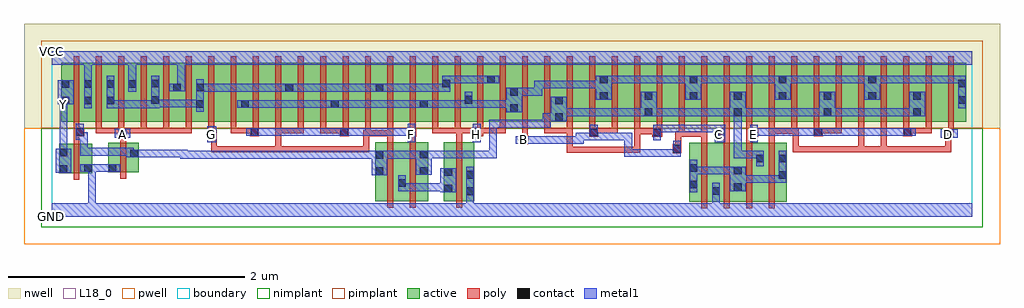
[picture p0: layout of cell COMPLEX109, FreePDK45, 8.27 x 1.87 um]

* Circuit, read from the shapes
.subckt COMPLEX109 A B C D E F G GND H VCC Y
M1 GND n1 Y VSUBS nfet w=0.25u l=0.05u
M2 n1 A GND VSUBS nfet w=0.25u l=0.05u
M3 n2 G n1 VSUBS nfet w=0.5u l=0.05u
M4 n1 F n2 VSUBS nfet w=0.5u l=0.05u
M5 GND H n2 VSUBS nfet w=0.5u l=0.05u
M6 GND B n3 VSUBS nfet w=0.5u l=0.05u
M7 n3 C GND VSUBS nfet w=0.5u l=0.05u
M8 n1 E n3 VSUBS nfet w=0.5u l=0.05u
M9 n3 D n1 VSUBS nfet w=0.5u l=0.05u
M10 VCC n1 Y n4 pfet w=0.5u l=0.05u
M11 n5 A VCC n4 pfet w=0.5u l=0.05u m=5
M12 n6 G n5 n4 pfet w=0.5u l=0.05u
M13 n7 F n6 n4 pfet w=0.5u l=0.05u
M14 n8 F n7 n4 pfet w=0.5u l=0.05u
M15 n5 G n8 n4 pfet w=0.5u l=0.05u
M16 n9 G n5 n4 pfet w=0.5u l=0.05u
M17 n7 F n9 n4 pfet w=0.5u l=0.05u
M18 n10 F n7 n4 pfet w=0.5u l=0.05u
M19 n5 G n10 n4 pfet w=0.5u l=0.05u
M20 n11 G n5 n4 pfet w=0.5u l=0.05u
M21 n7 F n11 n4 pfet w=0.5u l=0.05u
M22 n5 H n7 n4 pfet w=0.5u l=0.05u m=4
M23 n12 B n7 n4 pfet w=0.5u l=0.05u
M24 n1 C n12 n4 pfet w=0.5u l=0.05u
M25 n13 C n1 n4 pfet w=0.5u l=0.05u
M26 n7 B n13 n4 pfet w=0.5u l=0.05u
M27 n14 B n7 n4 pfet w=0.5u l=0.05u
M28 n1 C n14 n4 pfet w=0.5u l=0.05u
M29 n15 C n1 n4 pfet w=0.5u l=0.05u
M30 n7 B n15 n4 pfet w=0.5u l=0.05u
M31 n16 B n7 n4 pfet w=0.5u l=0.05u
M32 n1 C n16 n4 pfet w=0.5u l=0.05u
M33 n17 E n1 n4 pfet w=0.5u l=0.05u
M34 n7 D n17 n4 pfet w=0.5u l=0.05u
M35 n18 D n7 n4 pfet w=0.5u l=0.05u
M36 n1 E n18 n4 pfet w=0.5u l=0.05u
M37 n19 E n1 n4 pfet w=0.5u l=0.05u
M38 n7 D n19 n4 pfet w=0.5u l=0.05u
M39 n20 D n7 n4 pfet w=0.5u l=0.05u
M40 n1 E n20 n4 pfet w=0.5u l=0.05u
M41 n21 E n1 n4 pfet w=0.5u l=0.05u
M42 n7 D n21 n4 pfet w=0.5u l=0.05u
.ends

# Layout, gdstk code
import gdstk
lib = gdstk.Library(unit=1e-6, precision=1e-09)
def R(c, l, rs):  # rectangles x0, y0, x1, y1
    for r in rs: c.add(gdstk.rectangle(r[:2], r[2:], *l))
def A(c, l, x, y, w, h, nx, ny, dx, dy):  # array of equal rectangles
    R(c, l, [(x+i*dx, y+j*dy, x+i*dx+w, y+j*dy+h) for i in range(nx) for j in range(ny)])
active = (1, 0)
pwell = (2, 0)
nwell = (3, 0)
nimplant = (4, 0)
pimplant = (5, 0)
poly = (9, 0)
contact = (10, 0)
metal1 = (11, 0)
L18_0 = (18, 0)
boundary = (235, 0)

complex109 = lib.new_cell('COMPLEX109')
A(complex109, active, 3.115, 0.805, 0.265, 0.5, 3, 1, 0.19, 0)
A(complex109, active, 3.88, 0.805, 0.225, 0.5, 5, 1, 0.38, 0)
A(complex109, active, 4.105, 0.805, 0.23, 0.5, 4, 1, 0.38, 0)
A(complex109, active, 5.625, 0.805, 0.225, 0.5, 6, 1, 0.38, 0)
A(complex109, active, 5.775, 0.805, 0.23, 0.5, 5, 1, 0.38, 0)
A(complex109, active, 0.46, 0.807, 0.075, 0.393, 3, 1, 0.38, 0)
A(complex109, active, 3.88, 0.807, 0.075, 0.393, 3, 1, 0.76, 0)
A(complex109, active, 5.775, 0.807, 0.075, 0.263, 3, 1, 0.76, 0)
R(complex109, active, [(5.4,0.125,5.665,0.625), (5.59,0.125,5.85,0.625), (5.59,0.125,5.665,0.592), (5.775,0.125,6.04,0.625), (5.965,0.125,6.23,0.625), (2.74,0.13,3.005,0.63), (2.93,0.13,3.19,0.63), (3.322,0.13,3.582,0.63), (3.507,0.157,3.582,0.592), (2.74,0.195,2.815,0.63), (2.93,0.195,3.005,0.592), (3.115,0.195,3.19,0.63), (3.322,0.195,3.397,0.63), (5.4,0.195,5.475,0.625), (5.775,0.195,5.85,0.592), (5.965,0.195,6.04,0.592), (6.155,0.195,6.23,0.625), (0.062,0.367,0.137,0.617), (0.062,0.367,0.345,0.617), (0.27,0.367,0.345,0.617), (0.477,0.375,0.737,0.625), (0.477,0.375,0.552,0.625), (0.662,0.382,0.737,0.625), (0.08,0.805,0.345,1.305), (0.08,0.805,0.155,1.2), (0.27,0.805,0.535,1.305), (0.46,0.805,0.72,1.305), (0.645,0.805,0.915,1.305), (0.84,0.805,1.1,1.305), (1.025,0.805,1.295,1.305), (1.22,0.805,1.445,1.305), (1.445,0.805,1.675,1.305), (1.6,0.805,1.825,1.305), (1.825,0.805,2.05,1.305), (1.975,0.805,2.205,1.305), (2.205,0.805,2.435,1.305), (2.36,0.805,2.585,1.305), (2.585,0.805,2.815,1.305), (2.74,0.805,2.965,1.305), (2.965,0.805,3.19,1.305), (3.685,0.805,3.955,1.305), (4.26,0.805,4.335,1.07), (7.675,0.805,7.75,1.2), (0.27,0.807,0.345,1.305), (0.645,0.807,0.72,1.305), (1.025,0.807,1.1,1.305), (1.6,0.807,1.675,1.07), (1.975,0.807,2.05,1.2), (2.36,0.807,2.435,1.07), (2.74,0.807,2.815,1.2), (3.115,0.807,3.19,1.07), (3.305,0.807,3.38,1.2), (3.495,0.807,3.57,1.07), (3.685,0.807,3.76,1.2), (5.02,0.807,5.095,1.07), (6.155,0.807,6.23,1.2), (6.915,0.807,6.99,1.2)])
R(complex109, pwell, [(-0.235,-0.235,8.035,0.75)])
R(complex109, nwell, [(-0.235,0.75,8.035,1.635)])
R(complex109, nimplant, [(-0.09,-0.09,7.89,0.75)])
R(complex109, pimplant, [(-0.09,0.75,7.89,1.49)])
A(complex109, poly, 5.505, 0.07, 0.05, 0.61, 4, 1, 0.19, 0)
A(complex109, poly, 5.505, 0.63, 0.05, 0.095, 3, 1, 0.19, 0)
A(complex109, poly, 0.185, 0.705, 0.05, 0.095, 6, 1, 0.19, 0)
A(complex109, poly, 1.515, 0.705, 0.05, 0.095, 6, 1, 0.19, 0)
A(complex109, poly, 3.035, 0.705, 0.05, 0.095, 5, 1, 0.19, 0)
A(complex109, poly, 4.175, 0.705, 0.05, 0.095, 4, 1, 0.19, 0)
A(complex109, poly, 0.185, 0.75, 0.05, 0.61, 40, 1, 0.19, 0)
R(complex109, poly, [(2.845,0.075,2.895,0.685), (3.035,0.075,3.085,0.685), (3.427,0.075,3.477,0.685), (0.185,0.312,0.235,0.672), (0.582,0.32,0.632,0.68), (5.26,0.537,5.335,0.612), (4.365,0.542,4.415,0.592), (4.365,0.542,4.415,0.592), (4.365,0.542,4.415,0.592), (4.365,0.542,4.662,0.592), (4.365,0.542,4.415,0.755), (4.612,0.542,4.662,0.592), (4.612,0.542,4.662,0.592), (4.612,0.542,4.662,0.592), (4.612,0.542,4.795,0.592), (4.745,0.542,4.795,0.592), (4.745,0.542,4.985,0.592), (4.935,0.542,4.985,0.592), (4.935,0.542,4.985,0.592), (4.935,0.542,4.985,0.592), (4.935,0.542,4.985,0.75), (1.35,0.547,1.4,0.597), (1.35,0.547,1.4,0.597), (1.35,0.547,1.4,0.597), (1.35,0.547,1.4,0.597), (1.35,0.547,1.4,0.597), (1.35,0.547,1.532,0.597), (1.35,0.547,1.4,0.712), (1.482,0.547,1.532,0.597), (1.482,0.547,1.812,0.597), (1.762,0.547,1.812,0.597), (1.762,0.547,1.812,0.597), (1.762,0.547,1.812,0.597), (1.762,0.547,1.945,0.597), (1.895,0.547,1.945,0.597), (1.895,0.547,1.945,0.597), (1.895,0.547,1.945,0.597), (1.895,0.547,1.945,0.597), (1.895,0.547,1.945,0.597), (1.895,0.547,2.135,0.597), (1.895,0.547,1.945,0.755), (2.085,0.547,2.135,0.597), (2.085,0.547,2.135,0.597), (2.085,0.547,2.135,0.597), (2.085,0.547,2.267,0.597), (2.217,0.547,2.267,0.597), (2.217,0.547,2.267,0.597), (2.217,0.547,2.267,0.597), (2.217,0.547,2.4,0.597), (2.35,0.547,2.4,0.597), (2.35,0.547,2.532,0.597), (2.482,0.547,2.532,0.597), (2.482,0.547,2.532,0.597), (2.482,0.547,2.532,0.597), (2.482,0.547,2.69,0.597), (2.64,0.547,2.69,0.597), (2.64,0.547,2.69,0.597), (2.64,0.547,2.69,0.597), (2.64,0.547,2.69,0.73), (6.28,0.547,6.33,0.597), (6.28,0.547,6.33,0.597), (6.28,0.547,6.33,0.597), (6.28,0.547,6.33,0.597), (6.28,0.547,6.33,0.597), (6.28,0.547,6.562,0.597), (6.28,0.547,6.33,0.752), (6.512,0.547,6.562,0.597), (6.512,0.547,6.562,0.597), (6.512,0.547,6.562,0.597), (6.512,0.547,6.752,0.597), (6.702,0.547,6.752,0.597), (6.702,0.547,6.752,0.597), (6.702,0.547,6.752,0.597), (6.702,0.547,6.885,0.597), (6.835,0.547,6.885,0.597), (6.835,0.547,6.885,0.597), (6.835,0.547,6.885,0.597), (6.835,0.547,6.885,0.597), (6.835,0.547,6.885,0.597), (6.835,0.547,6.885,0.597), (6.835,0.547,6.885,0.597), (6.835,0.547,6.885,0.8), (6.835,0.547,7.075,0.597), (7.025,0.547,7.075,0.597), (7.025,0.547,7.075,0.597), (7.025,0.547,7.075,0.597), (7.025,0.547,7.075,0.597), (7.025,0.547,7.075,0.597), (7.025,0.547,7.075,0.597), (7.025,0.547,7.075,0.597), (7.025,0.547,7.207,0.597), (7.025,0.547,7.075,0.8), (7.157,0.547,7.207,0.597), (7.157,0.547,7.422,0.597), (7.372,0.547,7.422,0.597), (7.372,0.547,7.422,0.597), (7.372,0.547,7.422,0.597), (7.372,0.547,7.62,0.597), (7.57,0.547,7.62,0.597), (7.57,0.547,7.62,0.597), (7.57,0.547,7.62,0.597), (7.57,0.547,7.62,0.72), (5.285,0.562,5.335,0.612), (5.285,0.562,5.335,0.612), (5.285,0.562,5.335,0.725), (3.962,0.612,4.037,0.687), (0.185,0.622,0.235,0.73), (0.582,0.63,0.632,0.725), (6.075,0.63,6.125,0.752), (2.845,0.635,2.895,0.73), (3.035,0.635,3.085,0.73), (3.427,0.635,3.477,0.755), (3.985,0.637,4.035,0.8), (1.325,0.662,1.4,0.737), (7.57,0.67,7.62,0.72), (7.57,0.67,7.62,0.72), (7.57,0.67,7.645,0.745), (0.562,0.675,0.637,0.755), (4.555,0.675,4.63,0.755), (5.09,0.675,5.175,0.75), (5.285,0.675,5.365,0.725), (5.315,0.675,5.555,0.725), (5.315,0.675,5.365,0.8), (5.505,0.675,5.555,0.725), (5.505,0.675,5.555,0.725), (5.505,0.675,5.555,0.725), (5.505,0.675,5.555,0.8), (5.637,0.675,5.745,0.75), (5.885,0.675,5.987,0.75), (0.185,0.68,0.275,0.755), (1.68,0.68,1.755,0.755), (2.44,0.68,2.515,0.755), (2.64,0.68,2.705,0.73), (2.655,0.68,2.705,0.73), (2.655,0.68,2.705,0.73), (2.655,0.68,2.895,0.73), (2.655,0.68,2.705,0.8), (2.845,0.68,2.895,0.73), (2.845,0.68,2.895,0.8), (3.012,0.68,3.087,0.755), (3.565,0.68,3.655,0.755), (6.455,0.68,6.532,0.755), (7.215,0.68,7.29,0.755), (1.325,0.687,1.375,0.8), (7.595,0.695,7.645,0.8), (4.935,0.7,4.985,0.75), (4.935,0.7,4.985,0.75), (4.935,0.7,4.985,0.75), (4.935,0.7,4.985,0.8), (4.935,0.7,5.14,0.75), (5.09,0.7,5.14,0.75), (5.09,0.7,5.14,0.75), (5.125,0.7,5.175,0.8), (5.695,0.7,5.745,0.8), (5.885,0.7,5.935,0.8), (6.075,0.702,6.125,0.752), (6.075,0.702,6.125,0.752), (6.075,0.702,6.125,0.752), (6.075,0.702,6.315,0.752), (6.075,0.702,6.125,0.8), (6.265,0.702,6.315,0.8), (6.265,0.702,6.33,0.752), (0.375,0.705,0.425,0.755), (0.375,0.705,0.425,0.755), (0.375,0.705,0.425,0.755), (0.375,0.705,0.612,0.755), (0.587,0.705,0.637,0.755), (0.587,0.705,0.637,0.755), (0.587,0.705,0.805,0.755), (0.755,0.705,0.805,0.755), (0.755,0.705,0.995,0.755), (0.945,0.705,0.995,0.755), (0.945,0.705,0.995,0.755), (0.945,0.705,0.995,0.755), (0.945,0.705,1.185,0.755), (1.135,0.705,1.185,0.755), (1.135,0.705,1.185,0.755), (1.135,0.705,1.185,0.755), (1.515,0.705,1.565,0.755), (1.515,0.705,1.73,0.755), (1.68,0.705,1.73,0.755), (1.68,0.705,1.73,0.755), (1.895,0.705,1.945,0.755), (1.895,0.705,2.135,0.755), (2.085,0.705,2.135,0.755), (2.085,0.705,2.135,0.755), (2.085,0.705,2.135,0.755), (2.275,0.705,2.325,0.755), (2.275,0.705,2.4,0.755), (2.35,0.705,2.4,0.755), (2.35,0.705,2.49,0.755), (3.225,0.705,3.275,0.755), (3.225,0.705,3.275,0.755), (3.225,0.705,3.275,0.755), (3.225,0.705,3.465,0.755), (3.415,0.705,3.477,0.755), (3.427,0.705,3.615,0.755), (3.565,0.705,3.615,0.755), (3.565,0.705,3.615,0.755), (3.605,0.705,3.845,0.755), (3.795,0.705,3.845,0.755), (3.795,0.705,3.845,0.755), (3.795,0.705,3.845,0.755), (4.175,0.705,4.225,0.755), (4.175,0.705,4.225,0.755), (4.175,0.705,4.225,0.755), (4.175,0.705,4.415,0.755), (4.365,0.705,4.415,0.755), (4.365,0.705,4.415,0.755), (4.365,0.705,4.415,0.755), (4.58,0.705,4.63,0.755), (4.58,0.705,4.63,0.755), (4.58,0.705,4.795,0.755), (4.745,0.705,4.795,0.755), (6.455,0.705,6.505,0.8), (6.482,0.705,6.532,0.755), (6.482,0.705,6.532,0.755), (6.482,0.705,6.695,0.755), (6.645,0.705,6.695,0.755), (6.645,0.705,6.695,0.8), (7.215,0.705,7.265,0.8), (7.24,0.705,7.455,0.755), (7.405,0.705,7.455,0.755), (7.405,0.705,7.455,0.755), (7.405,0.705,7.455,0.755), (7.405,0.705,7.455,0.8)])
A(complex109, contact, 5.78, 0.852, 0.065, 0.065, 3, 2, 0.76, 0.14)
A(complex109, contact, 0.085, 0.952, 0.065, 0.065, 3, 2, 0.19, 0.14)
R(complex109, contact, [(3.512,0.182,3.577,0.247), (5.595,0.185,5.66,0.25), (3.327,0.205,3.392,0.27), (5.78,0.217,5.845,0.282), (5.405,0.24,5.47,0.305), (2.935,0.252,3,0.317), (6.16,0.32,6.225,0.385), (3.512,0.322,3.577,0.387), (3.327,0.345,3.392,0.41), (2.745,0.352,2.81,0.417), (3.12,0.355,3.185,0.42), (5.78,0.357,5.845,0.422), (0.067,0.372,0.132,0.437), (0.275,0.38,0.34,0.445), (0.482,0.38,0.547,0.445), (5.405,0.38,5.47,0.445), (5.97,0.46,6.035,0.525), (6.16,0.46,6.225,0.525), (2.745,0.492,2.81,0.557), (3.12,0.495,3.185,0.56), (0.667,0.502,0.732,0.567), (0.067,0.512,0.132,0.577), (5.265,0.542,5.33,0.607), (3.967,0.617,4.032,0.682), (1.33,0.667,1.395,0.732), (7.575,0.675,7.64,0.74), (0.567,0.68,0.632,0.745), (4.56,0.68,4.625,0.745), (5.095,0.68,5.16,0.745), (5.642,0.68,5.707,0.745), (5.917,0.68,5.982,0.745), (0.205,0.685,0.27,0.75), (1.685,0.685,1.75,0.75), (2.445,0.685,2.51,0.75), (3.017,0.685,3.082,0.75), (3.57,0.685,3.635,0.75), (6.462,0.685,6.527,0.75), (7.22,0.685,7.285,0.75), (4.265,0.81,4.33,0.875), (5.025,0.852,5.09,0.917), (3.885,0.885,3.95,0.95), (1.225,0.922,1.29,0.987), (1.605,0.922,1.67,0.987), (2.365,0.922,2.43,0.987), (3.12,0.922,3.185,0.987), (4.265,0.95,4.33,1.015), (0.845,0.955,0.91,1.02), (7.68,0.955,7.745,1.02), (3.5,0.957,3.565,1.022), (4.645,0.99,4.71,1.055), (5.405,0.99,5.47,1.055), (6.16,0.99,6.225,1.055), (6.92,0.99,6.985,1.055), (5.025,0.992,5.09,1.057), (3.885,1.025,3.95,1.09), (1.98,1.06,2.045,1.125), (2.745,1.06,2.81,1.125), (1.03,1.062,1.095,1.127), (1.225,1.062,1.29,1.127), (0.65,1.092,0.715,1.157), (0.845,1.095,0.91,1.16), (3.31,1.095,3.375,1.16), (7.68,1.095,7.745,1.16), (3.69,1.13,3.755,1.195), (4.645,1.13,4.71,1.195), (5.405,1.13,5.47,1.195), (6.16,1.13,6.225,1.195), (6.92,1.13,6.985,1.195)])
A(complex109, metal1, 5.745, 0.852, 0.135, 0.205, 3, 1, 0.76, 0)
R(complex109, metal1, [(0,0,7.8,0.115), (0.31,0.05,0.375,0.115), (0.31,0.05,0.375,0.115), (0.31,0.05,0.375,0.115), (0.31,0.05,0.375,0.115), (0.31,0.05,0.375,0.115), (0.31,0.05,0.375,0.115), (0.31,0.05,0.375,0.445), (3.512,0.05,3.577,0.115), (3.512,0.05,3.577,0.115), (3.512,0.05,3.577,0.212), (5.595,0.05,5.66,0.215), (3.512,0.147,3.577,0.422), (5.595,0.15,5.66,0.215), (5.595,0.15,5.66,0.215), (5.595,0.15,5.66,0.285), (3.292,0.205,3.427,0.41), (5.405,0.205,5.47,0.48), (2.935,0.217,3,0.352), (2.935,0.217,3.05,0.282), (2.985,0.217,3.05,0.282), (2.985,0.217,3.137,0.282), (3.072,0.217,3.137,0.282), (3.072,0.217,3.287,0.282), (3.222,0.217,3.287,0.282), (3.222,0.217,3.357,0.282), (5.745,0.217,5.88,0.422), (5.815,0.285,5.88,0.35), (5.815,0.285,5.88,0.35), (5.815,0.285,6.017,0.35), (5.952,0.285,6.017,0.35), (5.952,0.285,6.172,0.35), (6.107,0.285,6.172,0.35), (6.107,0.285,6.225,0.35), (6.16,0.285,6.225,0.56), (2.71,0.352,2.845,0.557), (3.085,0.355,3.22,0.56), (5.405,0.357,5.47,0.422), (5.405,0.357,5.47,0.422), (5.405,0.357,5.672,0.422), (5.607,0.357,5.672,0.422), (5.607,0.357,5.672,0.422), (5.607,0.357,5.672,0.422), (5.607,0.357,5.81,0.422), (0.032,0.372,0.167,0.577), (0.24,0.38,0.375,0.445), (0.31,0.38,0.407,0.445), (0.342,0.38,0.407,0.445), (0.342,0.38,0.512,0.445), (0.447,0.38,0.582,0.445), (5.97,0.425,6.035,0.56), (1.087,0.492,1.29,0.557), (1.087,0.492,1.152,0.567), (1.225,0.492,1.29,0.557), (1.225,0.492,1.29,0.557), (1.225,0.492,1.29,0.557), (1.225,0.492,1.427,0.557), (1.362,0.492,1.427,0.557), (1.362,0.492,1.532,0.557), (1.467,0.492,1.532,0.557), (1.467,0.492,1.67,0.557), (1.605,0.492,1.67,0.557), (1.605,0.492,1.67,0.557), (1.605,0.492,1.67,0.557), (1.605,0.492,1.842,0.557), (1.777,0.492,1.842,0.557), (1.777,0.492,1.98,0.557), (1.915,0.492,1.98,0.557), (1.915,0.492,1.98,0.557), (1.915,0.492,1.98,0.557), (1.915,0.492,2.155,0.557), (2.09,0.492,2.155,0.557), (2.09,0.492,2.217,0.557), (2.152,0.492,2.217,0.557), (2.152,0.492,2.292,0.557), (2.227,0.492,2.292,0.557), (2.227,0.492,2.43,0.557), (2.365,0.492,2.43,0.557), (2.365,0.492,2.43,0.557), (2.365,0.492,2.43,0.557), (2.365,0.492,2.637,0.557), (2.572,0.492,2.637,0.557), (2.572,0.492,2.775,0.557), (2.71,0.492,2.775,0.557), (2.71,0.492,2.775,0.557), (2.78,0.492,2.912,0.557), (2.847,0.492,2.912,0.557), (2.847,0.492,2.982,0.557), (2.917,0.492,2.982,0.557), (2.917,0.492,3.15,0.557), (3.085,0.492,3.15,0.557), (3.085,0.492,3.15,0.557), (3.155,0.495,3.287,0.56), (3.222,0.495,3.287,0.56), (3.222,0.495,3.427,0.56), (3.362,0.495,3.427,0.56), (3.362,0.495,3.427,0.56), (3.362,0.495,3.427,0.56), (3.362,0.495,3.582,0.56), (3.517,0.495,3.582,0.56), (3.517,0.495,3.582,0.56), (3.517,0.495,3.582,0.56), (3.517,0.495,3.772,0.56), (3.707,0.495,3.772,0.56), (3.707,0.495,3.772,0.82), (5.78,0.495,5.845,0.56), (5.78,0.495,6.035,0.56), (5.78,0.495,5.845,0.917), (5.97,0.495,6.035,0.56), (5.97,0.495,6.035,0.56), (0.632,0.502,0.697,0.567), (0.632,0.502,0.767,0.567), (0.632,0.502,0.697,0.582), (0.702,0.502,0.835,0.567), (0.77,0.502,0.835,0.567), (0.77,0.502,0.905,0.567), (0.84,0.502,0.905,0.567), (0.84,0.502,0.972,0.567), (0.907,0.502,0.972,0.567), (0.907,0.502,1.152,0.567), (1.087,0.502,1.152,0.567), (1.087,0.502,1.152,0.567), (4.852,0.507,4.917,0.572), (4.852,0.507,4.917,0.572), (4.852,0.507,4.917,0.572), (4.852,0.507,5.055,0.572), (4.852,0.507,4.917,0.71), (4.99,0.507,5.055,0.572), (4.99,0.507,5.055,0.572), (4.99,0.507,5.055,0.572), (4.99,0.507,5.262,0.572), (5.197,0.507,5.262,0.572), (5.197,0.507,5.33,0.572), (5.265,0.507,5.33,0.642), (0.067,0.512,0.132,0.947), (0.24,0.517,0.305,0.582), (0.24,0.517,0.407,0.582), (0.24,0.517,0.305,0.715), (0.342,0.517,0.407,0.582), (0.342,0.517,0.56,0.582), (0.495,0.517,0.56,0.582), (0.495,0.517,0.697,0.582), (3.932,0.617,4.067,0.682), (4.002,0.617,4.157,0.682), (4.092,0.617,4.157,0.682), (4.092,0.617,4.227,0.682), (4.162,0.617,4.227,0.682), (4.162,0.617,4.37,0.682), (4.305,0.617,4.37,0.682), (4.305,0.617,4.37,0.682), (4.305,0.617,4.37,0.682), (4.305,0.617,4.507,0.682), (4.442,0.617,4.507,0.71), (1.317,0.63,1.395,0.767), (3.017,0.632,3.082,0.785), (3.567,0.632,3.635,0.785), (5.617,0.632,5.707,0.78), (5.917,0.632,5.982,0.78), (4.442,0.645,4.625,0.71), (4.56,0.645,4.78,0.71), (4.56,0.645,4.625,0.78), (4.715,0.645,4.78,0.71), (4.715,0.645,4.78,0.71), (4.715,0.645,4.78,0.71), (4.715,0.645,4.78,0.71), (4.715,0.645,4.78,0.71), (4.715,0.645,4.917,0.71), (4.852,0.645,4.917,0.71), (5.095,0.645,5.16,0.78), (0.205,0.65,0.305,0.715), (0.205,0.65,0.27,0.785), (0.24,0.65,0.305,0.715), (0.532,0.667,0.667,0.745), (7.532,0.667,7.675,0.74), (1.65,0.685,1.785,0.75), (1.72,0.685,1.842,0.75), (1.777,0.685,1.842,0.75), (1.777,0.685,2.017,0.75), (1.952,0.685,2.017,0.75), (1.952,0.685,2.017,0.75), (1.952,0.685,2.017,0.75), (1.952,0.685,2.155,0.75), (2.09,0.685,2.155,0.75), (2.09,0.685,2.257,0.75), (2.192,0.685,2.257,0.75), (2.192,0.685,2.292,0.75), (2.227,0.685,2.292,0.75), (2.227,0.685,2.475,0.75), (2.41,0.685,2.475,0.75), (2.41,0.685,2.475,0.75), (2.41,0.685,2.545,0.75), (2.48,0.685,2.637,0.75), (2.572,0.685,2.637,0.75), (2.572,0.685,2.775,0.75), (2.71,0.685,2.775,0.75), (2.71,0.685,2.775,0.75), (2.71,0.685,2.775,0.75), (2.71,0.685,2.912,0.75), (2.847,0.685,2.912,0.75), (2.847,0.685,2.982,0.75), (2.917,0.685,2.982,0.75), (2.917,0.685,3.082,0.75), (5.917,0.685,6.017,0.75), (5.952,0.685,6.017,0.75), (5.952,0.685,6.172,0.75), (6.107,0.685,6.172,0.75), (6.107,0.685,6.172,0.75), (6.107,0.685,6.172,0.75), (6.107,0.685,6.327,0.75), (6.262,0.685,6.327,0.75), (6.262,0.685,6.397,0.75), (6.332,0.685,6.397,0.75), (6.332,0.685,6.492,0.75), (6.427,0.685,6.562,0.75), (6.497,0.685,6.562,0.75), (6.497,0.685,6.562,0.75), (6.497,0.685,6.777,0.75), (6.712,0.685,6.777,0.75), (6.712,0.685,6.777,0.75), (6.712,0.685,6.777,0.75), (6.712,0.685,6.915,0.75), (6.85,0.685,6.915,0.75), (6.85,0.685,6.915,0.75), (6.85,0.685,6.915,0.75), (6.85,0.685,7.112,0.75), (7.047,0.685,7.112,0.75), (7.047,0.685,7.185,0.75), (7.12,0.685,7.185,0.75), (7.12,0.685,7.25,0.75), (7.185,0.685,7.32,0.75), (5.095,0.715,5.297,0.78), (5.232,0.715,5.297,0.78), (5.232,0.715,5.297,0.78), (5.232,0.715,5.297,0.78), (5.232,0.715,5.522,0.78), (5.457,0.715,5.522,0.78), (5.457,0.715,5.522,0.78), (5.457,0.715,5.522,0.78), (5.457,0.715,5.66,0.78), (5.595,0.715,5.66,0.78), (5.595,0.715,5.682,0.78), (3.707,0.755,3.772,0.82), (3.707,0.755,3.772,0.82), (3.707,0.755,3.772,0.82), (3.707,0.755,3.772,0.82), (3.707,0.755,3.772,0.82), (3.707,0.755,4.017,0.82), (3.952,0.755,4.017,0.82), (3.952,0.755,4.09,0.82), (4.025,0.755,4.09,0.82), (4.025,0.755,4.157,0.82), (4.092,0.755,4.157,0.82), (4.092,0.755,4.227,0.82), (4.162,0.755,4.227,0.875), (4.162,0.81,4.295,0.875), (4.23,0.81,4.365,1.015), (4.3,0.852,4.365,0.917), (4.3,0.852,4.365,0.917), (4.3,0.852,4.537,0.917), (4.472,0.852,4.537,0.917), (4.472,0.852,4.537,0.917), (4.472,0.852,4.537,0.917), (4.472,0.852,4.78,0.917), (4.715,0.852,4.78,0.917), (4.715,0.852,4.78,0.917), (4.715,0.852,4.78,0.917), (4.715,0.852,4.917,0.917), (4.852,0.852,4.917,0.917), (4.852,0.852,4.917,0.917), (4.852,0.852,4.917,0.917), (4.852,0.852,5.055,0.917), (4.99,0.852,5.125,1.057), (5.06,0.852,5.125,0.917), (5.06,0.852,5.125,0.917), (5.06,0.852,5.297,0.917), (5.232,0.852,5.297,0.917), (5.232,0.852,5.297,0.917), (5.232,0.852,5.297,0.917), (5.232,0.852,5.522,0.917), (5.457,0.852,5.522,0.917), (5.457,0.852,5.522,0.917), (5.457,0.852,5.522,0.917), (5.457,0.852,5.672,0.917), (5.607,0.852,5.672,0.917), (5.607,0.852,5.672,0.917), (5.607,0.852,5.672,0.917), (5.607,0.852,5.81,0.917), (5.78,0.852,5.845,0.917), (5.78,0.852,5.845,0.917), (5.815,0.852,6.017,0.917), (5.952,0.852,6.017,0.917), (5.952,0.852,6.017,0.917), (5.952,0.852,6.017,0.917), (5.952,0.852,6.19,0.917), (6.125,0.852,6.19,0.917), (6.125,0.852,6.19,0.917), (6.125,0.852,6.19,0.917), (6.125,0.852,6.327,0.917), (6.262,0.852,6.327,0.917), (6.262,0.852,6.425,0.917), (6.36,0.852,6.425,0.917), (6.36,0.852,6.57,0.917), (6.505,0.852,6.57,0.917), (6.505,0.852,6.57,0.917), (6.575,0.852,6.777,0.917), (6.712,0.852,6.777,0.917), (6.712,0.852,6.777,0.917), (6.712,0.852,6.777,0.917), (6.712,0.852,6.975,0.917), (6.91,0.852,6.975,0.917), (6.91,0.852,6.975,0.917), (6.91,0.852,6.975,0.917), (6.91,0.852,7.112,0.917), (7.047,0.852,7.112,0.917), (7.047,0.852,7.157,0.917), (7.092,0.852,7.157,0.917), (7.092,0.852,7.25,0.917), (7.185,0.852,7.25,0.917), (7.185,0.852,7.33,0.917), (0.067,0.882,0.132,1.017), (3.85,0.885,3.985,1.09), (1.225,0.887,1.29,1.162), (0.275,0.917,0.34,1.192), (0.465,0.917,0.53,1.192), (0.465,0.92,0.545,0.985), (0.48,0.92,0.545,0.985), (0.48,0.92,0.767,0.985), (0.702,0.92,0.767,0.985), (0.702,0.92,0.835,0.985), (0.77,0.92,0.835,0.985), (0.77,0.92,0.91,0.985), (0.845,0.92,0.91,1.195), (7.68,0.92,7.745,1.195), (1.57,0.922,1.705,0.987), (1.64,0.922,1.705,0.987), (1.64,0.922,1.705,0.987), (1.64,0.922,1.842,0.987), (1.777,0.922,1.842,0.987), (1.777,0.922,1.98,0.987), (1.915,0.922,1.98,0.987), (1.915,0.922,1.98,0.987), (1.915,0.922,1.98,0.987), (1.915,0.922,2.155,0.987), (2.09,0.922,2.155,0.987), (2.09,0.922,2.217,0.987), (2.152,0.922,2.217,0.987), (2.152,0.922,2.292,0.987), (2.227,0.922,2.292,0.987), (2.227,0.922,2.395,0.987), (2.33,0.922,2.465,0.987), (2.4,0.922,2.465,0.987), (2.4,0.922,2.465,0.987), (2.4,0.922,2.637,0.987), (2.572,0.922,2.637,0.987), (2.572,0.922,2.775,0.987), (2.71,0.922,2.775,0.987), (2.71,0.922,2.775,0.987), (2.71,0.922,2.775,0.987), (2.71,0.922,2.912,0.987), (2.847,0.922,2.912,0.987), (2.847,0.922,3,0.987), (2.935,0.922,3,0.987), (2.935,0.922,3.15,0.987), (3.085,0.922,3.15,0.987), (3.085,0.922,3.15,0.987), (3.085,0.922,3.22,0.987), (3.155,0.922,3.287,0.987), (3.222,0.922,3.287,0.987), (3.222,0.922,3.427,0.987), (3.362,0.922,3.427,0.987), (3.362,0.922,3.427,0.987), (3.362,0.922,3.427,0.987), (3.362,0.922,3.565,0.987), (3.5,0.922,3.565,0.987), (3.5,0.922,3.565,0.987), (3.5,0.922,3.565,1.057), (3.5,0.922,3.772,0.987), (3.707,0.922,3.772,0.987), (3.707,0.922,3.772,0.987), (3.707,0.922,3.772,0.987), (3.707,0.922,3.915,0.987), (0.845,0.925,0.972,0.99), (0.907,0.925,0.972,0.99), (0.907,0.925,1.11,0.99), (1.045,0.925,1.11,0.99), (1.045,0.925,1.11,0.99), (1.045,0.925,1.11,0.99), (1.045,0.925,1.29,0.99), (0.05,0.952,0.185,1.157), (0.067,0.952,0.132,1.017), (4.61,0.99,4.745,1.195), (5.37,0.99,5.505,1.195), (6.125,0.99,6.26,1.195), (6.885,0.99,7.02,1.195), (3.92,1.025,3.985,1.09), (3.92,1.025,3.985,1.09), (3.92,1.025,4.155,1.09), (4.09,1.025,4.155,1.152), (0.65,1.057,0.715,1.192), (1.225,1.06,1.29,1.125), (1.225,1.06,1.29,1.125), (1.225,1.06,1.427,1.125), (1.362,1.06,1.427,1.125), (1.362,1.06,1.427,1.125), (1.362,1.06,1.427,1.125), (1.362,1.06,1.67,1.125), (1.605,1.06,1.67,1.125), (1.605,1.06,1.67,1.125), (1.605,1.06,1.67,1.125), (1.605,1.06,1.842,1.125), (1.777,1.06,1.842,1.125), (1.777,1.06,2.01,1.125), (1.945,1.06,2.01,1.125), (1.945,1.06,2.01,1.125), (1.945,1.06,2.08,1.125), (2.015,1.06,2.155,1.125), (2.09,1.06,2.155,1.125), (2.09,1.06,2.257,1.125), (2.192,1.06,2.257,1.125), (2.192,1.06,2.292,1.125), (2.227,1.06,2.292,1.125), (2.227,1.06,2.5,1.125), (2.435,1.06,2.5,1.125), (2.435,1.06,2.637,1.125), (2.572,1.06,2.637,1.125), (2.572,1.06,2.637,1.125), (2.572,1.06,2.637,1.125), (2.572,1.06,2.775,1.125), (2.71,1.06,2.775,1.125), (2.71,1.06,2.775,1.125), (2.71,1.06,2.845,1.125), (2.78,1.06,2.912,1.125), (2.847,1.06,2.912,1.125), (2.847,1.06,3,1.125), (2.935,1.06,3,1.125), (2.935,1.06,3.137,1.125), (3.072,1.06,3.137,1.125), (3.072,1.06,3.137,1.125), (3.072,1.06,3.137,1.125), (3.072,1.06,3.287,1.125), (3.222,1.06,3.287,1.125), (3.222,1.06,3.375,1.125), (3.31,1.06,3.375,1.195), (0.995,1.062,1.13,1.127), (1.065,1.062,1.13,1.35), (4.09,1.087,4.227,1.152), (4.162,1.087,4.227,1.152), (4.162,1.087,4.37,1.152), (4.305,1.087,4.37,1.152), (4.305,1.087,4.37,1.152), (4.305,1.087,4.37,1.152), (4.305,1.087,4.507,1.152), (4.442,1.087,4.507,1.152), (4.442,1.087,4.507,1.152), (4.442,1.087,4.507,1.152), (4.442,1.087,4.675,1.152), (0.275,1.127,0.34,1.35), (0.65,1.127,0.715,1.35), (3.31,1.13,3.425,1.195), (3.36,1.13,3.425,1.195), (3.36,1.13,3.582,1.195), (3.517,1.13,3.582,1.195), (3.517,1.13,3.582,1.195), (3.517,1.13,3.582,1.195), (3.517,1.13,3.72,1.195), (3.655,1.13,3.79,1.195), (4.68,1.13,4.78,1.195), (4.715,1.13,4.78,1.195), (4.715,1.13,4.917,1.195), (4.852,1.13,4.917,1.195), (4.852,1.13,4.917,1.195), (4.852,1.13,4.917,1.195), (4.852,1.13,5.055,1.195), (4.99,1.13,5.055,1.195), (4.99,1.13,5.055,1.195), (4.99,1.13,5.055,1.195), (4.99,1.13,5.297,1.195), (5.232,1.13,5.297,1.195), (5.232,1.13,5.297,1.195), (5.232,1.13,5.297,1.195), (5.232,1.13,5.435,1.195), (5.44,1.13,5.505,1.195), (5.44,1.13,5.505,1.195), (5.44,1.13,5.66,1.195), (5.595,1.13,5.66,1.195), (5.595,1.13,5.66,1.195), (5.595,1.13,5.66,1.195), (5.595,1.13,5.81,1.195), (5.745,1.13,5.81,1.195), (5.745,1.13,6.035,1.195), (5.97,1.13,6.035,1.195), (5.97,1.13,6.035,1.195), (5.97,1.13,6.035,1.195), (5.97,1.13,6.19,1.195), (6.125,1.13,6.19,1.195), (6.125,1.13,6.19,1.195), (6.195,1.13,6.355,1.195), (6.29,1.13,6.355,1.195), (6.29,1.13,6.397,1.195), (6.332,1.13,6.397,1.195), (6.332,1.13,6.562,1.195), (6.497,1.13,6.562,1.195), (6.497,1.13,6.562,1.195), (6.497,1.13,6.562,1.195), (6.497,1.13,6.777,1.195), (6.712,1.13,6.777,1.195), (6.712,1.13,6.777,1.195), (6.712,1.13,6.777,1.195), (6.712,1.13,6.95,1.195), (6.885,1.13,6.95,1.195), (6.885,1.13,6.95,1.195), (6.955,1.13,7.112,1.195), (7.047,1.13,7.112,1.195), (7.047,1.13,7.185,1.195), (7.12,1.13,7.185,1.195), (7.12,1.13,7.322,1.195), (7.257,1.13,7.322,1.195), (7.257,1.13,7.322,1.195), (7.257,1.13,7.322,1.195), (7.257,1.13,7.46,1.195), (7.395,1.13,7.46,1.195), (7.395,1.13,7.46,1.195), (7.395,1.13,7.46,1.195), (7.395,1.13,7.745,1.195), (7.68,1.13,7.745,1.195), (7.68,1.13,7.745,1.195), (0,1.285,7.8,1.4)])
R(complex109, L18_0, [(0,0,7.8,0.115), (0.31,0.05,0.375,0.115), (0.31,0.05,0.375,0.115), (0.31,0.05,0.375,0.115), (0.31,0.05,0.375,0.115), (0.31,0.05,0.375,0.115), (0.31,0.05,0.375,0.115), (0.31,0.05,0.375,0.445), (3.512,0.05,3.577,0.115), (3.512,0.05,3.577,0.115), (3.512,0.05,3.577,0.212), (5.595,0.05,5.66,0.215), (3.512,0.147,3.577,0.422), (5.595,0.15,5.66,0.285), (5.595,0.15,5.66,0.215), (5.595,0.15,5.66,0.215), (0.032,0.372,0.167,0.577), (0.24,0.38,0.375,0.445), (0.31,0.38,0.407,0.445), (0.342,0.38,0.407,0.445), (0.342,0.38,0.512,0.445), (0.447,0.38,0.582,0.445), (4.852,0.507,4.917,0.572), (4.852,0.507,4.917,0.572), (4.852,0.507,4.917,0.572), (4.852,0.507,5.055,0.572), (4.852,0.507,4.917,0.71), (4.99,0.507,5.055,0.572), (4.99,0.507,5.055,0.572), (4.99,0.507,5.055,0.572), (4.99,0.507,5.262,0.572), (5.197,0.507,5.262,0.572), (5.197,0.507,5.33,0.572), (5.265,0.507,5.33,0.642), (0.067,0.512,0.132,0.947), (3.932,0.617,4.067,0.682), (3.967,0.617,4.032,0.682), (4.002,0.617,4.157,0.682), (4.092,0.617,4.157,0.682), (4.092,0.617,4.227,0.682), (4.162,0.617,4.227,0.682), (4.162,0.617,4.37,0.682), (4.305,0.617,4.37,0.682), (4.305,0.617,4.37,0.682), (4.305,0.617,4.37,0.682), (4.305,0.617,4.507,0.682), (4.442,0.617,4.507,0.71), (1.317,0.63,1.395,0.767), (3.017,0.632,3.082,0.785), (3.567,0.632,3.635,0.785), (5.617,0.632,5.707,0.78), (5.917,0.632,5.982,0.78), (4.442,0.645,4.625,0.71), (4.56,0.645,4.625,0.78), (4.56,0.645,4.78,0.71), (4.715,0.645,4.78,0.71), (4.715,0.645,4.78,0.71), (4.715,0.645,4.78,0.71), (4.715,0.645,4.78,0.71), (4.715,0.645,4.78,0.71), (4.715,0.645,4.917,0.71), (4.852,0.645,4.917,0.71), (5.095,0.645,5.16,0.78), (0.532,0.667,0.667,0.745), (0.567,0.667,0.632,0.732), (1.317,0.667,1.382,0.732), (3.017,0.667,3.082,0.732), (3.567,0.667,3.632,0.732), (5.617,0.667,5.682,0.732), (5.917,0.667,5.982,0.732), (7.532,0.667,7.675,0.74), (7.567,0.667,7.632,0.732), (1.65,0.685,1.785,0.75), (1.72,0.685,1.842,0.75), (1.777,0.685,1.842,0.75), (1.777,0.685,2.017,0.75), (1.952,0.685,2.017,0.75), (1.952,0.685,2.017,0.75), (1.952,0.685,2.017,0.75), (1.952,0.685,2.155,0.75), (2.09,0.685,2.155,0.75), (2.09,0.685,2.257,0.75), (2.192,0.685,2.257,0.75), (2.192,0.685,2.292,0.75), (2.227,0.685,2.292,0.75), (2.227,0.685,2.475,0.75), (2.41,0.685,2.475,0.75), (2.41,0.685,2.475,0.75), (2.41,0.685,2.545,0.75), (2.48,0.685,2.637,0.75), (2.572,0.685,2.637,0.75), (2.572,0.685,2.775,0.75), (2.71,0.685,2.775,0.75), (2.71,0.685,2.775,0.75), (2.71,0.685,2.775,0.75), (2.71,0.685,2.912,0.75), (2.847,0.685,2.912,0.75), (2.847,0.685,2.982,0.75), (2.917,0.685,2.982,0.75), (2.917,0.685,3.082,0.75), (5.917,0.685,6.017,0.75), (5.952,0.685,6.017,0.75), (5.952,0.685,6.172,0.75), (6.107,0.685,6.172,0.75), (6.107,0.685,6.172,0.75), (6.107,0.685,6.172,0.75), (6.107,0.685,6.327,0.75), (6.262,0.685,6.327,0.75), (6.262,0.685,6.397,0.75), (6.332,0.685,6.397,0.75), (6.332,0.685,6.492,0.75), (6.427,0.685,6.562,0.75), (6.497,0.685,6.562,0.75), (6.497,0.685,6.562,0.75), (6.497,0.685,6.777,0.75), (6.712,0.685,6.777,0.75), (6.712,0.685,6.777,0.75), (6.712,0.685,6.777,0.75), (6.712,0.685,6.915,0.75), (6.85,0.685,6.915,0.75), (6.85,0.685,6.915,0.75), (6.85,0.685,6.915,0.75), (6.85,0.685,7.112,0.75), (7.047,0.685,7.112,0.75), (7.047,0.685,7.185,0.75), (7.12,0.685,7.185,0.75), (7.12,0.685,7.25,0.75), (7.185,0.685,7.32,0.75), (5.095,0.715,5.297,0.78), (5.232,0.715,5.297,0.78), (5.232,0.715,5.297,0.78), (5.232,0.715,5.297,0.78), (5.232,0.715,5.522,0.78), (5.457,0.715,5.522,0.78), (5.457,0.715,5.522,0.78), (5.457,0.715,5.522,0.78), (5.457,0.715,5.66,0.78), (5.595,0.715,5.66,0.78), (5.595,0.715,5.682,0.78), (0.067,0.882,0.132,1.017), (0.067,0.917,0.132,0.982), (0.275,0.917,0.34,1.192), (0.05,0.952,0.185,1.157), (0.067,0.952,0.132,1.017), (0.65,1.057,0.715,1.192), (0.995,1.062,1.13,1.127), (1.065,1.062,1.13,1.35), (0.275,1.127,0.34,1.35), (0.65,1.127,0.715,1.35), (0,1.285,7.8,1.4)])
R(complex109, boundary, [(0,0,7.8,1.4)])
complex109.add(gdstk.Label('A', (0.6,0.7), layer=11, texttype=0))
complex109.add(gdstk.Label('B', (4,0.65), layer=11, texttype=0))
complex109.add(gdstk.Label('C', (5.65,0.7), layer=11, texttype=0))
complex109.add(gdstk.Label('D', (7.6,0.7), layer=11, texttype=0))
complex109.add(gdstk.Label('E', (5.95,0.7), layer=11, texttype=0))
complex109.add(gdstk.Label('F', (3.05,0.7), layer=11, texttype=0))
complex109.add(gdstk.Label('G', (1.35,0.7), layer=11, texttype=0))
complex109.add(gdstk.Label('H', (3.6,0.7), layer=11, texttype=0))
complex109.add(gdstk.Label('Y', (0.1,0.95), layer=11, texttype=0))
complex109.add(gdstk.Label('VCC', (0,1.4), layer=11, texttype=0))
complex109.add(gdstk.Label('GND', (0,0), layer=11, texttype=0))

lib.write_gds('COMPLEX109.gds')
